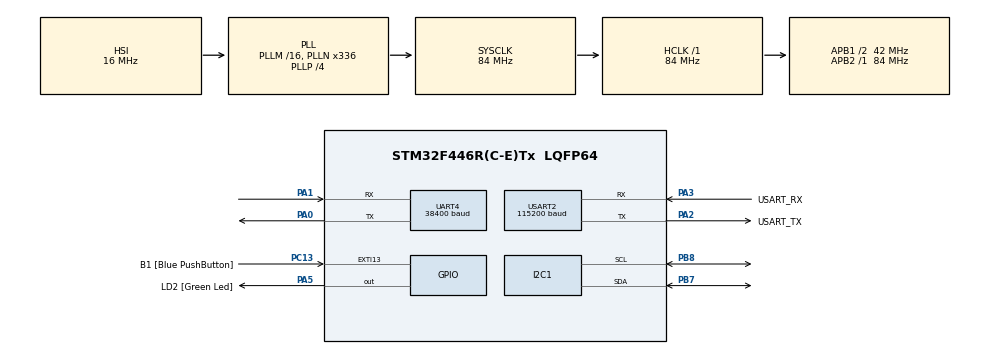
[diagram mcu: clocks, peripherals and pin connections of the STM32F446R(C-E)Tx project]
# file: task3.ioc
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Mcu.Family=STM32F4
Mcu.Name=STM32F446R(C-E)Tx
Mcu.Package=LQFP64
NVIC.PriorityGroup=NVIC_PRIORITYGROUP_0
PA0-WKUP.Mode=Asynchronous
PA0-WKUP.Signal=UART4_TX
PA1.Mode=Asynchronous
PA1.Signal=UART4_RX
PA13.GPIO_Label=TMS
PA13.Mode=Serial_Wire
PA13.Signal=SYS_JTMS-SWDIO
PA14.GPIO_Label=TCK
PA14.Mode=Serial_Wire
PA14.Signal=SYS_JTCK-SWCLK
PA2.GPIO_Label=USART_TX
PA2.Mode=Asynchronous
PA2.Signal=USART2_TX
PA3.GPIO_Label=USART_RX
PA3.Mode=Asynchronous
PA3.Signal=USART2_RX
PA5.GPIO_Label=LD2 [Green Led]
PA5.Signal=GPIO_Output
PB3.GPIO_Label=SWO
PB3.Signal=SYS_JTDO-SWO
PB7.Mode=I2C
PB7.Signal=I2C1_SDA
PB8.Mode=I2C
PB8.Signal=I2C1_SCL
PC13.GPIO_Label=B1 [Blue PushButton]
PC13.GPIO_ModeDefaultEXTI=GPIO_MODE_IT_FALLING
PC13.Signal=GPXTI13
PC14-OSC32_IN.Mode=LSE-External-Oscillator
PC14-OSC32_IN.Signal=RCC_OSC32_IN
PC15-OSC32_OUT.Mode=LSE-External-Oscillator
PC15-OSC32_OUT.Signal=RCC_OSC32_OUT
PH0-OSC_IN.Mode=HSE-External-Oscillator
PH0-OSC_IN.Signal=RCC_OSC_IN
PH1-OSC_OUT.Mode=HSE-External-Oscillator
PH1-OSC_OUT.Signal=RCC_OSC_OUT
ProjectManager.HeapSize=0x200
ProjectManager.StackSize=0x400
ProjectManager.TargetToolchain=STM32CubeIDE
RCC.48MHZClocksFreq_Value=84000000
RCC.AHBFreq_Value=84000000
RCC.APB1CLKDivider=RCC_HCLK_DIV2
RCC.APB1Freq_Value=42000000
RCC.APB1TimFreq_Value=84000000
RCC.APB2Freq_Value=84000000
RCC.APB2TimFreq_Value=84000000
RCC.CortexFreq_Value=84000000
RCC.FLatency-AdvancedSettings=FLASH_LATENCY_2
RCC.HCLKFreq_Value=84000000
RCC.HSE_VALUE=8000000
RCC.HSI_VALUE=16000000
RCC.PLLN=336
RCC.PLLP=RCC_PLLP_DIV4
RCC.SYSCLKFreq_VALUE=84000000
RCC.SYSCLKSource=RCC_SYSCLKSOURCE_PLLCLK
RCC.USBFreq_Value=168000000
RCC.VCOOutputFreq_Value=336000000
UART4.BaudRate=38400
UART4.VirtualMode=Asynchronous
USART2.BaudRate=115200
USART2.VirtualMode=VM_ASYNC
board=NUCLEO-F446RE

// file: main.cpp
/* USER CODE BEGIN Header */
/**
  ******************************************************************************
  * @file           : main.c
  * @brief          : Main program body
  ******************************************************************************
  * @attention
  *
  * Copyright (c) 2023 STMicroelectronics.
  * All rights reserved.
  *
  * This software is licensed under terms that can be found in the LICENSE file
  * in the root directory of this software component.
  * If no LICENSE file comes with this software, it is provided AS-IS.
  *
  ******************************************************************************
  */
/* USER CODE END Header */
#include "main.h"
#include "my_func.h"
using namespace std;

I2C_HandleTypeDef hi2c1;

UART_HandleTypeDef huart4;
UART_HandleTypeDef huart2;

void SystemClock_Config(void);
static void MX_GPIO_Init(void);
static void MX_USART2_UART_Init(void);
static void MX_I2C1_Init(void);
static void MX_UART4_Init(void);

/* USER CODE BEGIN 0 */
double memory_array[10] = {50.0, 50.5, 48.4, 127.1, 78.3, 98.7, 10, 10, 10, 20};
/* USER CODE END 0 */

int main(void)
{

  /* MCU Configuration--------------------------------------------------------*/

  /* Reset of all peripherals, Initializes the Flash interface and the Systick. */
	HAL_Init();

  /* Configure the system clock */
  SystemClock_Config();

  /* Initialize all configured peripherals */
  MX_GPIO_Init();
  MX_USART2_UART_Init();
  MX_I2C1_Init();
  MX_UART4_Init();
  /* USER CODE BEGIN 2 */

    I2C_send(0b00110000,0);   // 8ми битный интерфейс
    I2C_send(0b00000010,0);   // установка курсора в начале строки
    I2C_send(0b00001100,0);   // нормальный режим работы
    I2C_send(0b00000001,0);   // очистка дисплея

    //Текст заставки. Сделано по большей части потому что могу и так как то прикольнее
    I2C_send(0b10000000,0);   // переход на 1 строку, тут не обязателен
    LCD_SendString("Hello Everybody!");
    I2C_send(0b11000000,0);   // переход на 2 строку
    LCD_SendString("Welcome to the");
    I2C_send(0b10010100,0);   // переход на 3 строку
    LCD_SendString("Input - Output sys.");
    I2C_send(0b11010100,0);   // переход на 4 строку
    LCD_SendString("-enter the command-");

  /* USER CODE END 2 */

  /* Infinite loop */
  /* USER CODE BEGIN WHILE */

    char input_data_read[1];
	char input_data[100];
    int i;
    std::vector<std::string> parsered_data;

    memset(input_data, 0, sizeof(input_data)); //уж лучше путь нули точно во всей строке будут, чем что то не сильно понятное

    while (1)
    {
    	//цикл, осуществляющий запись и вывод данных
    	for(i = 0;; i++)
    	{
    		//если данные отпралены, то они все считаются и запищутся в новую переменную
    		//Есть вариант выбора, откуда будет производиться считывание: huart4 - bluetooth модуль, huart2 - данные с компьютера
			if( HAL_UART_Receive(&huart4, (uint8_t *)input_data_read, 1, 250) == HAL_OK )
			{
				input_data[i] = input_data_read[0]; //запись полученных данных в новую переменную
			}
			//вызввается, если считывание данных не прошло
			else
			{
				//если данные завершатся указанным знаком, то откроется режим вывода на дисплей
				if(input_data[i - 1] == ')')
				{
					parsered_data = parser(input_data);
					//пока так. Надо подумать как через switch case сделать в идеале
					if ( parsered_data[0] == "sum" ) sum(parsered_data, memory_array);
					if ( parsered_data[0] == "print_str" ) print_str(parsered_data);
					if ( parsered_data[0] == "print_arr" ) print_arr(parsered_data, memory_array);
					if ( parsered_data[0] == "diff" ) diff(parsered_data, memory_array);

					if ( parsered_data[0] == "read_epr" ) read_epr(memory_array);
					if ( parsered_data[0] == "save_epr" ) save_epr(memory_array);
					if ( parsered_data[0] == "read_sd" ) read_sd(memory_array);
					if ( parsered_data[0] == "save_sd" ) save_sd(memory_array);

					HAL_UART_Transmit(&huart2, (uint8_t *)input_data, i, 3); //чисто для проверки. Удалить
					memset(input_data, 0, sizeof(input_data));
					/*выше была произведена змена всех символов нулями. Это сделано для двух целей
					 * 1. подмена завершающего символа, чтобы закрыть возможность входа в это условие и надпись осталась
					 * 2. затирание лишней информации поступающей на выход, когда последующая строка меньше предыдущей
					 * возможно потом откажусь от этого решения */
				}
				break;
			}
    	}

    /* USER CODE END WHILE */

  }
}

void SystemClock_Config(void)
{
  RCC_OscInitTypeDef RCC_OscInitStruct = {0};
  RCC_ClkInitTypeDef RCC_ClkInitStruct = {0};

  /** Configure the main internal regulator output voltage
  */
  __HAL_RCC_PWR_CLK_ENABLE();
  __HAL_PWR_VOLTAGESCALING_CONFIG(PWR_REGULATOR_VOLTAGE_SCALE3);

  /** Initializes the RCC Oscillators according to the specified parameters
  * in the RCC_OscInitTypeDef structure.
  */
  RCC_OscInitStruct.OscillatorType = RCC_OSCILLATORTYPE_HSI;
  RCC_OscInitStruct.HSIState = RCC_HSI_ON;
  RCC_OscInitStruct.HSICalibrationValue = RCC_HSICALIBRATION_DEFAULT;
  RCC_OscInitStruct.PLL.PLLState = RCC_PLL_ON;
  RCC_OscInitStruct.PLL.PLLSource = RCC_PLLSOURCE_HSI;
  RCC_OscInitStruct.PLL.PLLM = 16;
  RCC_OscInitStruct.PLL.PLLN = 336;
  RCC_OscInitStruct.PLL.PLLP = RCC_PLLP_DIV4;
  RCC_OscInitStruct.PLL.PLLQ = 2;
  RCC_OscInitStruct.PLL.PLLR = 2;
  if (HAL_RCC_OscConfig(&RCC_OscInitStruct) != HAL_OK)
  {
    Error_Handler();
  }

  /** Initializes the CPU, AHB and APB buses clocks
  */
  RCC_ClkInitStruct.ClockType = RCC_CLOCKTYPE_HCLK|RCC_CLOCKTYPE_SYSCLK
                              |RCC_CLOCKTYPE_PCLK1|RCC_CLOCKTYPE_PCLK2;
  RCC_ClkInitStruct.SYSCLKSource = RCC_SYSCLKSOURCE_PLLCLK;
  RCC_ClkInitStruct.AHBCLKDivider = RCC_SYSCLK_DIV1;
  RCC_ClkInitStruct.APB1CLKDivider = RCC_HCLK_DIV2;
  RCC_ClkInitStruct.APB2CLKDivider = RCC_HCLK_DIV1;

  if (HAL_RCC_ClockConfig(&RCC_ClkInitStruct, FLASH_LATENCY_2) != HAL_OK)
  {
    Error_Handler();
  }
}

static void MX_I2C1_Init(void)
{

  hi2c1.Instance = I2C1;
  hi2c1.Init.ClockSpeed = 100000;
  hi2c1.Init.DutyCycle = I2C_DUTYCYCLE_2;
  hi2c1.Init.OwnAddress1 = 0;
  hi2c1.Init.AddressingMode = I2C_ADDRESSINGMODE_7BIT;
  hi2c1.Init.DualAddressMode = I2C_DUALADDRESS_DISABLE;
  hi2c1.Init.OwnAddress2 = 0;
  hi2c1.Init.GeneralCallMode = I2C_GENERALCALL_DISABLE;
  hi2c1.Init.NoStretchMode = I2C_NOSTRETCH_DISABLE;
  if (HAL_I2C_Init(&hi2c1) != HAL_OK)
  {
    Error_Handler();
  }

}

static void MX_UART4_Init(void)
{

  huart4.Instance = UART4;
  huart4.Init.BaudRate = 9600;
  huart4.Init.WordLength = UART_WORDLENGTH_8B;
  huart4.Init.StopBits = UART_STOPBITS_1;
  huart4.Init.Parity = UART_PARITY_NONE;
  huart4.Init.Mode = UART_MODE_TX_RX;
  huart4.Init.HwFlowCtl = UART_HWCONTROL_NONE;
  huart4.Init.OverSampling = UART_OVERSAMPLING_16;
  if (HAL_UART_Init(&huart4) != HAL_OK)
  {
    Error_Handler();
  }

}

static void MX_USART2_UART_Init(void)
{

  huart2.Instance = USART2;
  huart2.Init.BaudRate = 115200;
  huart2.Init.WordLength = UART_WORDLENGTH_8B;
  huart2.Init.StopBits = UART_STOPBITS_1;
  huart2.Init.Parity = UART_PARITY_NONE;
  huart2.Init.Mode = UART_MODE_TX_RX;
  huart2.Init.HwFlowCtl = UART_HWCONTROL_NONE;
  huart2.Init.OverSampling = UART_OVERSAMPLING_16;
  if (HAL_UART_Init(&huart2) != HAL_OK)
  {
    Error_Handler();
  }

}

static void MX_GPIO_Init(void)
{
  GPIO_InitTypeDef GPIO_InitStruct = {0};

  /* GPIO Ports Clock Enable */
  __HAL_RCC_GPIOC_CLK_ENABLE();
  __HAL_RCC_GPIOH_CLK_ENABLE();
  __HAL_RCC_GPIOA_CLK_ENABLE();
  __HAL_RCC_GPIOB_CLK_ENABLE();

  /*Configure GPIO pin Output Level */
  HAL_GPIO_WritePin(LD2_GPIO_Port, LD2_Pin, GPIO_PIN_RESET);

  /*Configure GPIO pin : B1_Pin */
  GPIO_InitStruct.Pin = B1_Pin;
  GPIO_InitStruct.Mode = GPIO_MODE_IT_FALLING;
  GPIO_InitStruct.Pull = GPIO_NOPULL;
  HAL_GPIO_Init(B1_GPIO_Port, &GPIO_InitStruct);

  /*Configure GPIO pin : LD2_Pin */
  GPIO_InitStruct.Pin = LD2_Pin;
  GPIO_InitStruct.Mode = GPIO_MODE_OUTPUT_PP;
  GPIO_InitStruct.Pull = GPIO_NOPULL;
  GPIO_InitStruct.Speed = GPIO_SPEED_FREQ_LOW;
  HAL_GPIO_Init(LD2_GPIO_Port, &GPIO_InitStruct);

}

void Error_Handler(void)
{
  __disable_irq();
  while (1)
  {
  }
}
